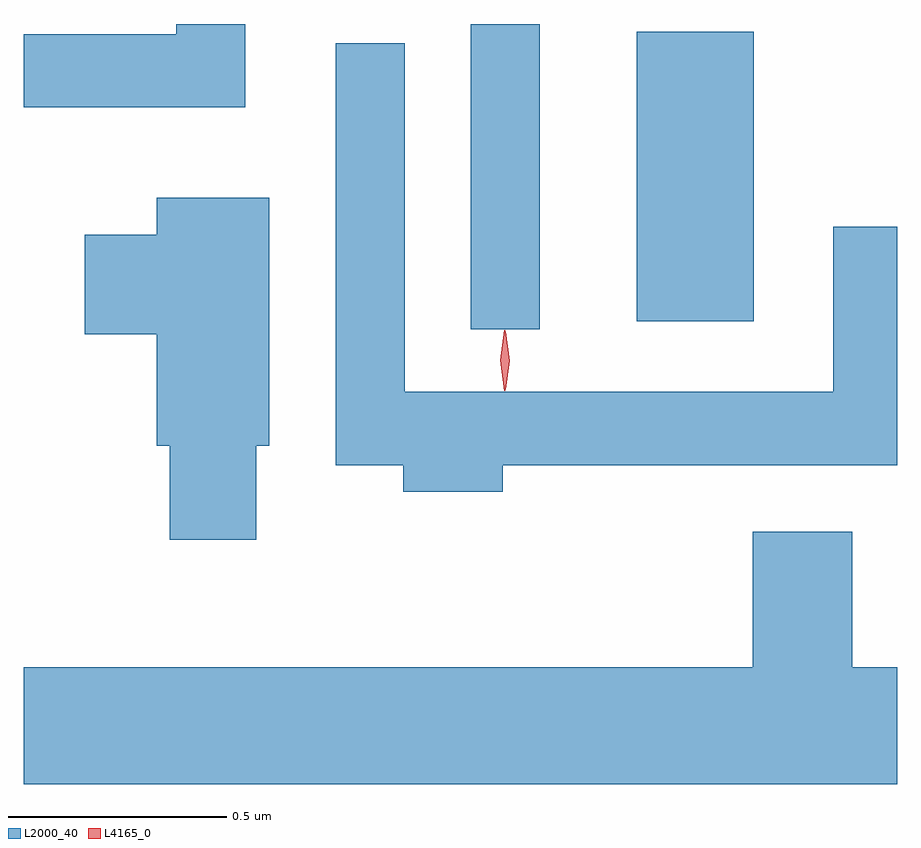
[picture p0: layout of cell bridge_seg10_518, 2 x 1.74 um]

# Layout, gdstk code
import gdstk
lib = gdstk.Library(unit=1e-6, precision=1e-09)
def R(c, l, rs):  # rectangles x0, y0, x1, y1
    for r in rs: c.add(gdstk.rectangle(r[:2], r[2:], *l))
def P(c, l, *ps):  # polygons
    for p in ps: c.add(gdstk.Polygon(p, *l))
L2000_40 = (2000, 40)
L4165_0 = (4165, 0)

bridge_seg10_518 = lib.new_cell('bridge_seg10_518')
R(bridge_seg10_518, L2000_40, [(907.146,2152.698,907.304,2153.397), (907.526,2152.716,907.794,2153.379)])
P(bridge_seg10_518, L2000_40, [(906.629,2153.397),(906.471,2153.397),(906.471,2153.374),(906.122,2153.374),(906.122,2153.206),(906.629,2153.206)],
  [(907.219,2152.386),(908.122,2152.386),(908.122,2152.933),(907.976,2152.933),(907.976,2152.554),(906.994,2152.554),(906.994,2153.353),(906.836,2153.353),(906.836,2152.386),(906.991,2152.386),(906.991,2152.326),(907.219,2152.326)],
  [(906.654,2152.431),(906.684,2152.431),(906.684,2152.999),(906.426,2152.999),(906.426,2152.914),(906.261,2152.914),(906.261,2152.686),(906.426,2152.686),(906.426,2152.431),(906.456,2152.431),(906.456,2152.216),(906.654,2152.216)],
  [(908.122,2151.924),(908.019,2151.924),(908.019,2152.234),(907.791,2152.234),(907.791,2151.924),(906.122,2151.924),(906.122,2151.656),(908.122,2151.656)])
P(bridge_seg10_518, L4165_0, [(907.222,2152.557),(907.213,2152.627),(907.222,2152.696),(907.223,2152.696),(907.224,2152.696),(907.233,2152.627),(907.224,2152.557),(907.223,2152.557)],
  [(907.225,2152.559),(907.225,2152.56),(907.215,2152.626),(907.225,2152.692),(907.225,2152.693),(907.226,2152.692),(907.235,2152.626),(907.226,2152.56)])

lib.write_gds('bridge_seg10_518.gds')
